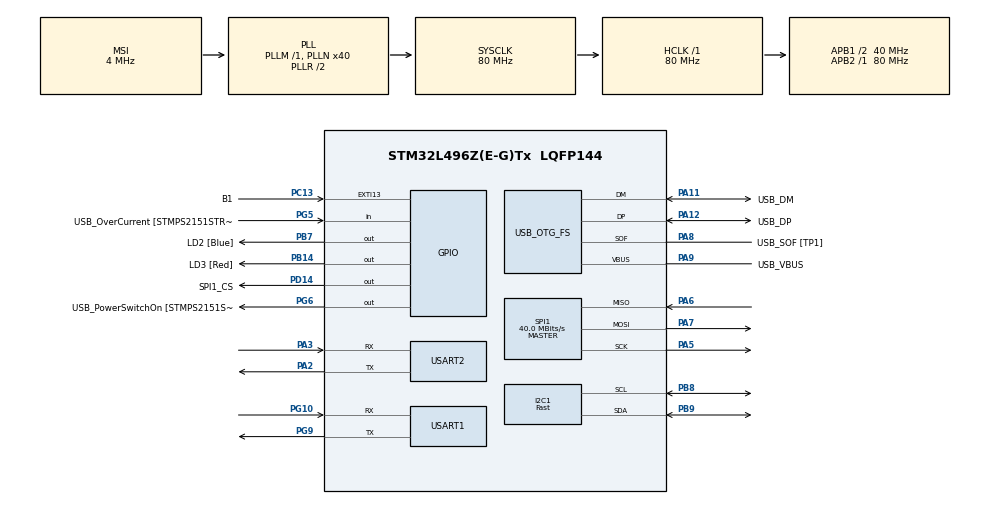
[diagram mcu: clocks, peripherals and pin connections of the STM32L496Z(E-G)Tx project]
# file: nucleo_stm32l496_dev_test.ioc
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FREERTOS.Tasks01=defaultTask,0,128,StartDefaultTask,Default,NULL
I2C1.I2C_Speed_Mode=I2C_Fast
I2C1.Timing=0x00301347
Mcu.Family=STM32L4
Mcu.Name=STM32L496Z(E-G)Tx
Mcu.Package=LQFP144
NVIC.PriorityGroup=NVIC_PRIORITYGROUP_4
NVIC.TIM1_UP_TIM16_IRQn=true\:0\:0\:false\:false\:true\:false\:false
NVIC.TimeBase=TIM1_UP_TIM16_IRQn
NVIC.TimeBaseIP=TIM1
PA10.GPIO_Label=USB_ID
PA10.Signal=USB_OTG_FS_ID
PA11.GPIO_Label=USB_DM
PA11.Mode=Device_Only
PA11.Signal=USB_OTG_FS_DM
PA12.GPIO_Label=USB_DP
PA12.Mode=Device_Only
PA12.Signal=USB_OTG_FS_DP
PA13\ (JTMS/SWDIO).GPIO_Label=TMS
PA13\ (JTMS/SWDIO).Mode=Trace_Asynchronous_SW
PA13\ (JTMS/SWDIO).Signal=SYS_JTMS-SWDIO
PA14\ (JTCK/SWCLK).GPIO_Label=TCK
PA14\ (JTCK/SWCLK).Mode=Trace_Asynchronous_SW
PA14\ (JTCK/SWCLK).Signal=SYS_JTCK-SWCLK
PA2.Mode=Asynchronous
PA2.Signal=USART2_TX
PA3.Mode=Asynchronous
PA3.Signal=USART2_RX
PA5.Mode=Full_Duplex_Master
PA5.Signal=SPI1_SCK
PA6.Mode=Full_Duplex_Master
PA6.Signal=SPI1_MISO
PA7.Mode=Full_Duplex_Master
PA7.Signal=SPI1_MOSI
PA8.GPIO_Label=USB_SOF [TP1]
PA8.Mode=Activate_SOF_FS
PA8.Signal=USB_OTG_FS_SOF
PA9.GPIO_Label=USB_VBUS
PA9.Mode=Activate_VBUS
PA9.Signal=USB_OTG_FS_VBUS
PB14.GPIO_Label=LD3 [Red]
PB14.Signal=GPIO_Output
PB3\ (JTDO/TRACESWO).GPIO_Label=SWO
PB3\ (JTDO/TRACESWO).Mode=Trace_Asynchronous_SW
PB3\ (JTDO/TRACESWO).Signal=SYS_JTDO-SWO
PB7.GPIO_Label=LD2 [Blue]
PB7.Signal=GPIO_Output
PB8.Mode=I2C
PB8.Signal=I2C1_SCL
PB9.Mode=I2C
PB9.Signal=I2C1_SDA
PC13.GPIO_Label=B1
PC13.Signal=GPXTI13
PC14-OSC32_IN\ (PC14).Mode=LSE-External-Oscillator
PC14-OSC32_IN\ (PC14).Signal=RCC_OSC32_IN
PC15-OSC32_OUT\ (PC15).Mode=LSE-External-Oscillator
PC15-OSC32_OUT\ (PC15).Signal=RCC_OSC32_OUT
PD14.GPIO_Label=SPI1_CS
PD14.Signal=GPIO_Output
PG10.Mode=Asynchronous
PG10.Signal=USART1_RX
PG5.GPIO_Label=USB_OverCurrent [STMPS2151STR_FAULT]
PG5.Signal=GPIO_Input
PG6.GPIO_Label=USB_PowerSwitchOn [STMPS2151STR_EN]
PG6.Signal=GPIO_Output
PG7.GPIO_Label=STLK_RX [STM32F103CBT6_PA3]
PG7.Signal=LPUART1_TX
PG8.GPIO_Label=STLK_TX [STM32F103CBT6_PA2]
PG8.Signal=LPUART1_RX
PG9.Mode=Asynchronous
PG9.Signal=USART1_TX
PH1-OSC_OUT\ (PH1).Signal=RCC_OSC_OUT
ProjectManager.HeapSize=0x200
ProjectManager.StackSize=0x400
ProjectManager.TargetToolchain=EWARM V8
RCC.48MHZClocksFreq_Value=24000000
RCC.ADCFreq_Value=48000000
RCC.AHBFreq_Value=80000000
RCC.APB1CLKDivider=RCC_HCLK_DIV2
RCC.APB1Freq_Value=40000000
RCC.APB1TimFreq_Value=80000000
RCC.APB2Freq_Value=80000000
RCC.APB2TimFreq_Value=80000000
RCC.CortexFreq_Value=80000000
RCC.HCLKFreq_Value=80000000
RCC.HSE_VALUE=8000000
RCC.HSI48_VALUE=48000000
RCC.HSI_VALUE=16000000
RCC.LPUART1CLockSelection=RCC_LPUART1CLKSOURCE_SYSCLK
RCC.MSI_VALUE=4000000
RCC.PLLMUL=RCC_PLL_MUL9
RCC.PLLN=40
RCC.PLLSAI1N=24
RCC.PRESCALERUSB=RCC_USBCLKSOURCE_PLL_DIV1_5
RCC.SYSCLKFreq_VALUE=80000000
RCC.SYSCLKSource=RCC_SYSCLKSOURCE_PLLCLK
RCC.SYSCLKSourceVirtual=RCC_SYSCLKSOURCE_PLLCLK
RCC.USBFreq_Value=48000000
RCC.VCOOutputFreq_Value=160000000
SPI1.BaudRatePrescaler=SPI_BAUDRATEPRESCALER_2
SPI1.CLKPhase=SPI_PHASE_2EDGE
SPI1.CLKPolarity=SPI_POLARITY_HIGH
SPI1.CalculateBaudRate=40.0 MBits/s
SPI1.DataSize=SPI_DATASIZE_16BIT
SPI1.Direction=SPI_DIRECTION_2LINES
SPI1.Mode=SPI_MODE_MASTER
SPI1.VirtualType=VM_MASTER
USART1.VirtualMode-Asynchronous=VM_ASYNC
USART2.VirtualMode-Asynchronous=VM_ASYNC
USB_OTG_FS.VirtualMode=Device_Only
VP_CRC_VS_CRC.Mode=CRC_Activate
VP_FREERTOS_VS_ENABLE.Mode=Enabled
VP_SYS_VS_tim1.Mode=TIM1
board=NUCLEO-L496ZG

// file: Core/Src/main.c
/**
  ******************************************************************************
  * @file           : main.c
  * @brief          : Main program body
  ******************************************************************************
  * This notice applies to any and all portions of this file
  * that are not between comment pairs USER CODE BEGIN and
  * USER CODE END. Other portions of this file, whether
  * inserted by the user or by software development tools
  * are owned by their respective copyright owners.
  *
  * Copyright (c) 2018 STMicroelectronics International N.V.
  * All rights reserved.
  *
  * Redistribution and use in source and binary forms, with or without
  * modification, are permitted, provided that the following conditions are met:
  *
  * 1. Redistribution of source code must retain the above copyright notice,
  *    this list of conditions and the following disclaimer.
  * 2. Redistributions in binary form must reproduce the above copyright notice,
  *    this list of conditions and the following disclaimer in the documentation
  *    and/or other materials provided with the distribution.
  * 3. Neither the name of STMicroelectronics nor the names of other
  *    contributors to this software may be used to endorse or promote products
  *    derived from this software without specific written permission.
  * 4. This software, including modifications and/or derivative works of this
  *    software, must execute solely and exclusively on microcontroller or
  *    microprocessor devices manufactured by or for STMicroelectronics.
  * 5. Redistribution and use of this software other than as permitted under
  *    this license is void and will automatically terminate your rights under
  *    this license.
  *
  * THIS SOFTWARE IS PROVIDED BY STMICROELECTRONICS AND CONTRIBUTORS "AS IS"
  * AND ANY EXPRESS, IMPLIED OR STATUTORY WARRANTIES, INCLUDING, BUT NOT
  * LIMITED TO, THE IMPLIED WARRANTIES OF MERCHANTABILITY, FITNESS FOR A
  * PARTICULAR PURPOSE AND NON-INFRINGEMENT OF THIRD PARTY INTELLECTUAL PROPERTY
  * RIGHTS ARE DISCLAIMED TO THE FULLEST EXTENT PERMITTED BY LAW. IN NO EVENT
  * SHALL STMICROELECTRONICS OR CONTRIBUTORS BE LIABLE FOR ANY DIRECT, INDIRECT,
  * INCIDENTAL, SPECIAL, EXEMPLARY, OR CONSEQUENTIAL DAMAGES (INCLUDING, BUT NOT
  * LIMITED TO, PROCUREMENT OF SUBSTITUTE GOODS OR SERVICES; LOSS OF USE, DATA,
  * OR PROFITS; OR BUSINESS INTERRUPTION) HOWEVER CAUSED AND ON ANY THEORY OF
  * LIABILITY, WHETHER IN CONTRACT, STRICT LIABILITY, OR TORT (INCLUDING
  * NEGLIGENCE OR OTHERWISE) ARISING IN ANY WAY OUT OF THE USE OF THIS SOFTWARE,
  * EVEN IF ADVISED OF THE POSSIBILITY OF SUCH DAMAGE.
  *
  ******************************************************************************
  */
#include "main.h"
#include "stm32l4xx_hal.h"
#include "cmsis_os.h"

CRC_HandleTypeDef hcrc;

I2C_HandleTypeDef hi2c1;

SPI_HandleTypeDef hspi1;

UART_HandleTypeDef huart1;
UART_HandleTypeDef huart2;

PCD_HandleTypeDef hpcd_USB_OTG_FS;

osThreadId defaultTaskHandle;

/* USER CODE BEGIN PV */
/* Private variables ---------------------------------------------------------*/

/* USER CODE END PV */

void SystemClock_Config(void);
static void MX_GPIO_Init(void);
static void MX_USB_OTG_FS_PCD_Init(void);
static void MX_I2C1_Init(void);
static void MX_USART1_UART_Init(void);
static void MX_USART2_UART_Init(void);
static void MX_SPI1_Init(void);
static void MX_CRC_Init(void);
void StartDefaultTask(void const * argument);

/* USER CODE BEGIN PFP */
/* Private function prototypes -----------------------------------------------*/

/* USER CODE END PFP */

int main(void)
{

  /* MCU Configuration----------------------------------------------------------*/

  /* Reset of all peripherals, Initializes the Flash interface and the Systick. */
  HAL_Init();

  /* Configure the system clock */
  SystemClock_Config();

  /* USER CODE BEGIN SysInit */
  __HAL_RCC_PWR_CLK_ENABLE();

  /* USER CODE END SysInit */

  /* Initialize all configured peripherals */
  MX_GPIO_Init();
  MX_USB_OTG_FS_PCD_Init();
  MX_I2C1_Init();
  MX_USART1_UART_Init();
  MX_USART2_UART_Init();
  MX_SPI1_Init();
  MX_CRC_Init();
  /* USER CODE BEGIN 2 */
  printf("Pre Start...\r\n");
  HAL_Delay(200);
  printf("Start...\r\n");
  uint8_t rbuf[2];
  HAL_StatusTypeDef ret = HAL_I2C_Mem_Read(&hi2c1, 0x2A << 1, 0x0002, I2C_MEMADD_SIZE_16BIT, rbuf, 2, 0xfff);
  printf("HAL_I2C_Mem_Read ret=%d\r\n", ret);
  /* Init Lepton3 */
  HAL_StatusTypeDef lepton_ret = init_lepton_command_interface();
  if (HAL_OK != lepton_ret)
  {
      printf("init_lepton_command_interface failed, ret=%d\r\n", lepton_ret);
  }
  else
  {
      printf("init_lepton_command_interface done\r\n");
  }
  /* USER CODE END 2 */

  /* Create the thread(s) */
  /* definition and creation of defaultTask */
  osThreadDef(defaultTask, StartDefaultTask, osPriorityNormal, 0, 128);
  defaultTaskHandle = osThreadCreate(osThread(defaultTask), NULL);

  /* Start scheduler */
  osKernelStart();

  /* We should never get here as control is now taken by the scheduler */

  /* Infinite loop */
  while (1)
  {

  }

}

void SystemClock_Config(void)
{

  RCC_OscInitTypeDef RCC_OscInitStruct;
  RCC_ClkInitTypeDef RCC_ClkInitStruct;
  RCC_PeriphCLKInitTypeDef PeriphClkInit;

    /**Configure LSE Drive Capability
    */
  HAL_PWR_EnableBkUpAccess();

  __HAL_RCC_LSEDRIVE_CONFIG(RCC_LSEDRIVE_LOW);

    /**Initializes the CPU, AHB and APB busses clocks
    */
  RCC_OscInitStruct.OscillatorType = RCC_OSCILLATORTYPE_LSE|RCC_OSCILLATORTYPE_MSI;
  RCC_OscInitStruct.LSEState = RCC_LSE_ON;
  RCC_OscInitStruct.MSIState = RCC_MSI_ON;
  RCC_OscInitStruct.MSICalibrationValue = 0;
  RCC_OscInitStruct.MSIClockRange = RCC_MSIRANGE_6;
  RCC_OscInitStruct.PLL.PLLState = RCC_PLL_ON;
  RCC_OscInitStruct.PLL.PLLSource = RCC_PLLSOURCE_MSI;
  RCC_OscInitStruct.PLL.PLLM = 1;
  RCC_OscInitStruct.PLL.PLLN = 40;
  RCC_OscInitStruct.PLL.PLLP = RCC_PLLP_DIV2;
  RCC_OscInitStruct.PLL.PLLQ = RCC_PLLQ_DIV2;
  RCC_OscInitStruct.PLL.PLLR = RCC_PLLR_DIV2;
  if (HAL_RCC_OscConfig(&RCC_OscInitStruct) != HAL_OK)
  {
    _Error_Handler(__FILE__, __LINE__);
  }

    /**Initializes the CPU, AHB and APB busses clocks
    */
  RCC_ClkInitStruct.ClockType = RCC_CLOCKTYPE_HCLK|RCC_CLOCKTYPE_SYSCLK
                              |RCC_CLOCKTYPE_PCLK1|RCC_CLOCKTYPE_PCLK2;
  RCC_ClkInitStruct.SYSCLKSource = RCC_SYSCLKSOURCE_PLLCLK;
  RCC_ClkInitStruct.AHBCLKDivider = RCC_SYSCLK_DIV1;
  RCC_ClkInitStruct.APB1CLKDivider = RCC_HCLK_DIV2;
  RCC_ClkInitStruct.APB2CLKDivider = RCC_HCLK_DIV1;

  if (HAL_RCC_ClockConfig(&RCC_ClkInitStruct, FLASH_LATENCY_4) != HAL_OK)
  {
    _Error_Handler(__FILE__, __LINE__);
  }

  PeriphClkInit.PeriphClockSelection = RCC_PERIPHCLK_USART1|RCC_PERIPHCLK_USART2
                              |RCC_PERIPHCLK_I2C1|RCC_PERIPHCLK_USB;
  PeriphClkInit.Usart1ClockSelection = RCC_USART1CLKSOURCE_PCLK2;
  PeriphClkInit.Usart2ClockSelection = RCC_USART2CLKSOURCE_PCLK1;
  PeriphClkInit.I2c1ClockSelection = RCC_I2C1CLKSOURCE_PCLK1;
  PeriphClkInit.UsbClockSelection = RCC_USBCLKSOURCE_PLLSAI1;
  PeriphClkInit.PLLSAI1.PLLSAI1Source = RCC_PLLSOURCE_MSI;
  PeriphClkInit.PLLSAI1.PLLSAI1M = 1;
  PeriphClkInit.PLLSAI1.PLLSAI1N = 24;
  PeriphClkInit.PLLSAI1.PLLSAI1P = RCC_PLLP_DIV2;
  PeriphClkInit.PLLSAI1.PLLSAI1Q = RCC_PLLQ_DIV2;
  PeriphClkInit.PLLSAI1.PLLSAI1R = RCC_PLLR_DIV2;
  PeriphClkInit.PLLSAI1.PLLSAI1ClockOut = RCC_PLLSAI1_48M2CLK;
  if (HAL_RCCEx_PeriphCLKConfig(&PeriphClkInit) != HAL_OK)
  {
    _Error_Handler(__FILE__, __LINE__);
  }

    /**Configure the main internal regulator output voltage
    */
  if (HAL_PWREx_ControlVoltageScaling(PWR_REGULATOR_VOLTAGE_SCALE1) != HAL_OK)
  {
    _Error_Handler(__FILE__, __LINE__);
  }

    /**Configure the Systick interrupt time
    */
  HAL_SYSTICK_Config(HAL_RCC_GetHCLKFreq()/1000);

    /**Configure the Systick
    */
  HAL_SYSTICK_CLKSourceConfig(SYSTICK_CLKSOURCE_HCLK);

    /**Enable MSI Auto calibration
    */
  HAL_RCCEx_EnableMSIPLLMode();

  /* SysTick_IRQn interrupt configuration */
  HAL_NVIC_SetPriority(SysTick_IRQn, 15, 0);
}

/* CRC init function */
static void MX_CRC_Init(void)
{

  hcrc.Instance = CRC;
  hcrc.Init.DefaultPolynomialUse = DEFAULT_POLYNOMIAL_ENABLE;
  hcrc.Init.DefaultInitValueUse = DEFAULT_INIT_VALUE_ENABLE;
  hcrc.Init.InputDataInversionMode = CRC_INPUTDATA_INVERSION_NONE;
  hcrc.Init.OutputDataInversionMode = CRC_OUTPUTDATA_INVERSION_DISABLE;
  hcrc.InputDataFormat = CRC_INPUTDATA_FORMAT_BYTES;
  if (HAL_CRC_Init(&hcrc) != HAL_OK)
  {
    _Error_Handler(__FILE__, __LINE__);
  }

}

/* I2C1 init function */
static void MX_I2C1_Init(void)
{

  hi2c1.Instance = I2C1;
  hi2c1.Init.Timing = 0x00301347;
  hi2c1.Init.OwnAddress1 = 0;
  hi2c1.Init.AddressingMode = I2C_ADDRESSINGMODE_7BIT;
  hi2c1.Init.DualAddressMode = I2C_DUALADDRESS_DISABLE;
  hi2c1.Init.OwnAddress2 = 0;
  hi2c1.Init.OwnAddress2Masks = I2C_OA2_NOMASK;
  hi2c1.Init.GeneralCallMode = I2C_GENERALCALL_DISABLE;
  hi2c1.Init.NoStretchMode = I2C_NOSTRETCH_DISABLE;
  if (HAL_I2C_Init(&hi2c1) != HAL_OK)
  {
    _Error_Handler(__FILE__, __LINE__);
  }

    /**Configure Analogue filter
    */
  if (HAL_I2CEx_ConfigAnalogFilter(&hi2c1, I2C_ANALOGFILTER_ENABLE) != HAL_OK)
  {
    _Error_Handler(__FILE__, __LINE__);
  }

    /**Configure Digital filter
    */
  if (HAL_I2CEx_ConfigDigitalFilter(&hi2c1, 0) != HAL_OK)
  {
    _Error_Handler(__FILE__, __LINE__);
  }

}

/* SPI1 init function */
static void MX_SPI1_Init(void)
{

  /* SPI1 parameter configuration*/
  hspi1.Instance = SPI1;
  hspi1.Init.Mode = SPI_MODE_MASTER;
  hspi1.Init.Direction = SPI_DIRECTION_2LINES;
  hspi1.Init.DataSize = SPI_DATASIZE_16BIT;
  hspi1.Init.CLKPolarity = SPI_POLARITY_HIGH;
  hspi1.Init.CLKPhase = SPI_PHASE_2EDGE;
  hspi1.Init.NSS = SPI_NSS_SOFT;
  hspi1.Init.BaudRatePrescaler = SPI_BAUDRATEPRESCALER_2;
  hspi1.Init.FirstBit = SPI_FIRSTBIT_MSB;
  hspi1.Init.TIMode = SPI_TIMODE_DISABLE;
  hspi1.Init.CRCCalculation = SPI_CRCCALCULATION_DISABLE;
  hspi1.Init.CRCPolynomial = 7;
  hspi1.Init.CRCLength = SPI_CRC_LENGTH_DATASIZE;
  hspi1.Init.NSSPMode = SPI_NSS_PULSE_DISABLE;
  if (HAL_SPI_Init(&hspi1) != HAL_OK)
  {
    _Error_Handler(__FILE__, __LINE__);
  }

}

/* USART1 init function */
static void MX_USART1_UART_Init(void)
{

  huart1.Instance = USART1;
  huart1.Init.BaudRate = 115200;
  huart1.Init.WordLength = UART_WORDLENGTH_8B;
  huart1.Init.StopBits = UART_STOPBITS_1;
  huart1.Init.Parity = UART_PARITY_NONE;
  huart1.Init.Mode = UART_MODE_TX_RX;
  huart1.Init.HwFlowCtl = UART_HWCONTROL_NONE;
  huart1.Init.OverSampling = UART_OVERSAMPLING_16;
  huart1.Init.OneBitSampling = UART_ONE_BIT_SAMPLE_DISABLE;
  huart1.AdvancedInit.AdvFeatureInit = UART_ADVFEATURE_NO_INIT;
  if (HAL_UART_Init(&huart1) != HAL_OK)
  {
    _Error_Handler(__FILE__, __LINE__);
  }

}

/* USART2 init function */
static void MX_USART2_UART_Init(void)
{

  huart2.Instance = USART2;
  huart2.Init.BaudRate = 115200;
  huart2.Init.WordLength = UART_WORDLENGTH_8B;
  huart2.Init.StopBits = UART_STOPBITS_1;
  huart2.Init.Parity = UART_PARITY_NONE;
  huart2.Init.Mode = UART_MODE_TX_RX;
  huart2.Init.HwFlowCtl = UART_HWCONTROL_NONE;
  huart2.Init.OverSampling = UART_OVERSAMPLING_16;
  huart2.Init.OneBitSampling = UART_ONE_BIT_SAMPLE_DISABLE;
  huart2.AdvancedInit.AdvFeatureInit = UART_ADVFEATURE_NO_INIT;
  if (HAL_UART_Init(&huart2) != HAL_OK)
  {
    _Error_Handler(__FILE__, __LINE__);
  }

}

/* USB_OTG_FS init function */
static void MX_USB_OTG_FS_PCD_Init(void)
{

  hpcd_USB_OTG_FS.Instance = USB_OTG_FS;
  hpcd_USB_OTG_FS.Init.dev_endpoints = 6;
  hpcd_USB_OTG_FS.Init.speed = PCD_SPEED_FULL;
  hpcd_USB_OTG_FS.Init.ep0_mps = DEP0CTL_MPS_64;
  hpcd_USB_OTG_FS.Init.phy_itface = PCD_PHY_EMBEDDED;
  hpcd_USB_OTG_FS.Init.Sof_enable = ENABLE;
  hpcd_USB_OTG_FS.Init.low_power_enable = DISABLE;
  hpcd_USB_OTG_FS.Init.lpm_enable = DISABLE;
  hpcd_USB_OTG_FS.Init.battery_charging_enable = ENABLE;
  hpcd_USB_OTG_FS.Init.use_dedicated_ep1 = DISABLE;
  hpcd_USB_OTG_FS.Init.vbus_sensing_enable = ENABLE;
  if (HAL_PCD_Init(&hpcd_USB_OTG_FS) != HAL_OK)
  {
    _Error_Handler(__FILE__, __LINE__);
  }

}

/** Configure pins as
        * Analog
        * Input
        * Output
        * EVENT_OUT
        * EXTI
     PG7   ------> LPUART1_TX
     PG8   ------> LPUART1_RX
*/
static void MX_GPIO_Init(void)
{

  GPIO_InitTypeDef GPIO_InitStruct;

  /* GPIO Ports Clock Enable */
  __HAL_RCC_GPIOC_CLK_ENABLE();
  __HAL_RCC_GPIOH_CLK_ENABLE();
  __HAL_RCC_GPIOA_CLK_ENABLE();
  __HAL_RCC_GPIOB_CLK_ENABLE();
  __HAL_RCC_GPIOD_CLK_ENABLE();
  __HAL_RCC_GPIOG_CLK_ENABLE();
  HAL_PWREx_EnableVddIO2();

  /*Configure GPIO pin Output Level */
  HAL_GPIO_WritePin(GPIOB, LD3_Pin|LD2_Pin, GPIO_PIN_RESET);

  /*Configure GPIO pin Output Level */
  HAL_GPIO_WritePin(SPI1_CS_GPIO_Port, SPI1_CS_Pin, GPIO_PIN_RESET);

  /*Configure GPIO pin Output Level */
  HAL_GPIO_WritePin(USB_PowerSwitchOn_GPIO_Port, USB_PowerSwitchOn_Pin, GPIO_PIN_RESET);

  /*Configure GPIO pin : B1_Pin */
  GPIO_InitStruct.Pin = B1_Pin;
  GPIO_InitStruct.Mode = GPIO_MODE_IT_RISING;
  GPIO_InitStruct.Pull = GPIO_NOPULL;
  HAL_GPIO_Init(B1_GPIO_Port, &GPIO_InitStruct);

  /*Configure GPIO pins : LD3_Pin LD2_Pin */
  GPIO_InitStruct.Pin = LD3_Pin|LD2_Pin;
  GPIO_InitStruct.Mode = GPIO_MODE_OUTPUT_PP;
  GPIO_InitStruct.Pull = GPIO_NOPULL;
  GPIO_InitStruct.Speed = GPIO_SPEED_FREQ_LOW;
  HAL_GPIO_Init(GPIOB, &GPIO_InitStruct);

  /*Configure GPIO pin : SPI1_CS_Pin */
  GPIO_InitStruct.Pin = SPI1_CS_Pin;
  GPIO_InitStruct.Mode = GPIO_MODE_OUTPUT_PP;
  GPIO_InitStruct.Pull = GPIO_NOPULL;
  GPIO_InitStruct.Speed = GPIO_SPEED_FREQ_LOW;
  HAL_GPIO_Init(SPI1_CS_GPIO_Port, &GPIO_InitStruct);

  /*Configure GPIO pin : USB_OverCurrent_Pin */
  GPIO_InitStruct.Pin = USB_OverCurrent_Pin;
  GPIO_InitStruct.Mode = GPIO_MODE_INPUT;
  GPIO_InitStruct.Pull = GPIO_NOPULL;
  HAL_GPIO_Init(USB_OverCurrent_GPIO_Port, &GPIO_InitStruct);

  /*Configure GPIO pin : USB_PowerSwitchOn_Pin */
  GPIO_InitStruct.Pin = USB_PowerSwitchOn_Pin;
  GPIO_InitStruct.Mode = GPIO_MODE_OUTPUT_PP;
  GPIO_InitStruct.Pull = GPIO_NOPULL;
  GPIO_InitStruct.Speed = GPIO_SPEED_FREQ_LOW;
  HAL_GPIO_Init(USB_PowerSwitchOn_GPIO_Port, &GPIO_InitStruct);

  /*Configure GPIO pins : STLK_RX_Pin STLK_TX_Pin */
  GPIO_InitStruct.Pin = STLK_RX_Pin|STLK_TX_Pin;
  GPIO_InitStruct.Mode = GPIO_MODE_AF_PP;
  GPIO_InitStruct.Pull = GPIO_NOPULL;
  GPIO_InitStruct.Speed = GPIO_SPEED_FREQ_VERY_HIGH;
  GPIO_InitStruct.Alternate = GPIO_AF8_LPUART1;
  HAL_GPIO_Init(GPIOG, &GPIO_InitStruct);

}

/* USER CODE BEGIN 4 */

#ifdef  USE_IAR
#define PUTCHAR_PROTOTYPE
int putchar( int ch )
#else
#define PUTCHAR_PROTOTYPE
int fputc( int ch, FILE* f )
#endif

PUTCHAR_PROTOTYPE
{
    HAL_UART_Transmit( &huart1, ( uint8_t * )( &( ch ) ), 1, 10 );
    return ch;
}

/* USER CODE END 4 */

void StartDefaultTask(void const * argument)
{

  /* USER CODE BEGIN 5 */
    uint32_t i = 0;
  /* Infinite loop */
  for(;;)
  {
    HAL_GPIO_WritePin(LD2_GPIO_Port, LD2_Pin, GPIO_PIN_RESET);
    HAL_GPIO_WritePin(LD3_GPIO_Port, LD3_Pin, GPIO_PIN_SET);
    osDelay(500);
    HAL_GPIO_WritePin(LD2_GPIO_Port, LD2_Pin, GPIO_PIN_SET);
    HAL_GPIO_WritePin(LD3_GPIO_Port, LD3_Pin, GPIO_PIN_RESET);
    osDelay(500);
    osDelay(1);
    printf( "%s, %d, for printf test\r\n", __FUNCTION__, i++);
  }
  /* USER CODE END 5 */
}

void HAL_TIM_PeriodElapsedCallback(TIM_HandleTypeDef *htim)
{
  if (htim->Instance == TIM1) {
    HAL_IncTick();
  }
}

void _Error_Handler(char *file, int line)
{
  while(1)
  {
  }
}

/************************ (C) COPYRIGHT STMicroelectronics *****END OF FILE****/
